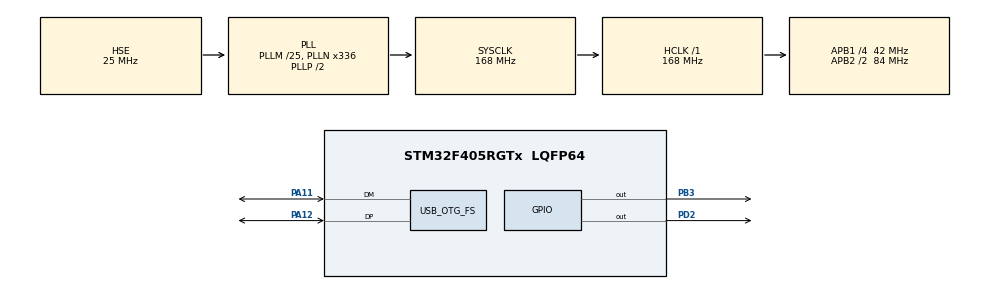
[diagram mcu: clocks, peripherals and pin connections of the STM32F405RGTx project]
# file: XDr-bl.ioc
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Mcu.Family=STM32F4
Mcu.Name=STM32F405RGTx
Mcu.Package=LQFP64
NVIC.OTG_FS_IRQn=true\:0\:0\:false\:false\:true\:false\:true\:true
NVIC.PriorityGroup=NVIC_PRIORITYGROUP_4
PA11.Mode=Device_Only
PA11.Signal=USB_OTG_FS_DM
PA12.Mode=Device_Only
PA12.Signal=USB_OTG_FS_DP
PA13.Mode=Serial_Wire
PA13.Signal=SYS_JTMS-SWDIO
PA14.Mode=Serial_Wire
PA14.Signal=SYS_JTCK-SWCLK
PB3.Signal=GPIO_Output
PD2.Signal=GPIO_Output
PH0-OSC_IN.Mode=HSE-External-Oscillator
PH0-OSC_IN.Signal=RCC_OSC_IN
PH1-OSC_OUT.Mode=HSE-External-Oscillator
PH1-OSC_OUT.Signal=RCC_OSC_OUT
ProjectManager.HeapSize=0x200
ProjectManager.StackSize=0x400
ProjectManager.TargetToolchain=MDK-ARM V5.32
RCC.48MHZClocksFreq_Value=48000000
RCC.AHBFreq_Value=168000000
RCC.APB1CLKDivider=RCC_HCLK_DIV4
RCC.APB1Freq_Value=42000000
RCC.APB1TimFreq_Value=84000000
RCC.APB2CLKDivider=RCC_HCLK_DIV2
RCC.APB2Freq_Value=84000000
RCC.APB2TimFreq_Value=168000000
RCC.CortexFreq_Value=168000000
RCC.HCLKFreq_Value=168000000
RCC.HSE_VALUE=25000000
RCC.HSI_VALUE=16000000
RCC.LSE_VALUE=32768
RCC.PLLM=25
RCC.PLLN=336
RCC.PLLQ=7
RCC.SYSCLKFreq_VALUE=168000000
RCC.SYSCLKSource=RCC_SYSCLKSOURCE_PLLCLK
RCC.VCOOutputFreq_Value=336000000
USB_DEVICE.CLASS_NAME_FS=CDC
USB_DEVICE.MANUFACTURER_STRING-CDC_FS=wxd
USB_DEVICE.PRODUCT_STRING_CDC_FS=XDr-bootloader
USB_DEVICE.VirtualMode-CDC_FS=Cdc
USB_DEVICE.VirtualModeFS=Cdc_FS
USB_OTG_FS.VirtualMode=Device_Only
VP_USB_DEVICE_VS_USB_DEVICE_CDC_FS.Mode=CDC_FS
board=custom

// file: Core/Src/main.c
/* USER CODE BEGIN Header */
/**
 ******************************************************************************
 * @file           : main.c
 * @brief          : Main program body
 ******************************************************************************
 * @attention
 *
 * Copyright (c) 2026 STMicroelectronics.
 * All rights reserved.
 *
 * This software is licensed under terms that can be found in the LICENSE file
 * in the root directory of this software component.
 * If no LICENSE file comes with this software, it is provided AS-IS.
 *
 ******************************************************************************
 */
/* USER CODE END Header */
#include "main.h"
#include "usb_device.h"
#include "gpio.h"

/* USER CODE BEGIN Includes */
#include "led.h"
#include "usbd_cdc_if.h"
/* USER CODE END Includes */

/* USER CODE BEGIN PV */
extern USBD_HandleTypeDef hUsbDeviceFS; /* 来自 usb_device.c */

volatile uint32_t g_firmware_total_size = 0; // 固件总大小
volatile uint8_t g_erase_sectors_start = 0;  // 起始扇区号
volatile uint8_t g_erase_sectors_count = 0;  // 擦除扇区数量

volatile uint32_t upgrade_addr;
volatile uint8_t g_fw_info_str[24] = {0};
volatile bool g_in_upgrade_mode = false;
/* USER CODE END PV */

void SystemClock_Config(void);

int main(void)
{

  /* MCU Configuration--------------------------------------------------------*/

  /* Reset of all peripherals, Initializes the Flash interface and the Systick. */
  HAL_Init();

  /* Configure the system clock */
  SystemClock_Config();

  /* Initialize all configured peripherals */
  MX_GPIO_Init();
  MX_USB_DEVICE_Init();
  /* USER CODE BEGIN 2 */
  LED_Init();
  LED_SetState(LED_IDLE);
  /* 检查升级标志，有则进入升级模式 */
  if (Check_Upgrade_Flag())
  {
    g_in_upgrade_mode = true;
    LED_SetState(LED_IDLE);
  }

  if (g_in_upgrade_mode)
  {
    /* 升级模式主循环 */
    while (1)
    {
      LED_Process(); /* 非阻塞更新 LED */

      if (g_cmd_received)
      {
        g_cmd_received = 0;

        /* 根据命令类型设置对应 LED 状态 */
        switch (g_upgrade_cmd)
        {
        case CMD_BL_CONNECT: /* 连接 BL */
        case CMD_IAP_ENTER:  /* 进入升级确认 */
          LED_SetState(LED_IDLE);
          break;

        case CMD_IAP_ERASE_FLASH:  /* 擦除 Flash */
        case CMD_IAP_WRITE_FLASH:  /* 写入 Flash */
        case CMD_IAP_VERIFY_FLASH: /* 校验 Flash */
          LED_SetState(LED_WRITING);
          break;

        case CMD_IAP_EXIT: /* 跳转 App */
          LED_SetState(LED_SUCCESS);
          break;

        default:
          LED_SetState(LED_ERROR);
          break;
        }
        /* === 开启临界区保护 === */
        __disable_irq(); // 1. 关中断

        /* 2. 一次性将 volatile 全局变量拷贝到局部变量 */
        uint8_t cmd = g_upgrade_cmd;
        uint16_t len = g_upgrade_len;
        uint8_t data_buf[256];

        if (len > 0 && len <= 256)
        {
          memcpy(data_buf, (void *)g_upgrade_data, len);
        }

        g_cmd_received = 0; // 3. 清除标志

        __enable_irq(); // 4. 开中断
                        /* === 临界区结束 === */
        uint8_t result = Process_Upgrade_Cmd(cmd, data_buf, len);

        /* 如果是跳转命令，显示结果后执行 */
        if (g_upgrade_cmd == CMD_IAP_EXIT)
        {
          if (result == FEEDBACK_OK)
          {
            LED_SetState(LED_SUCCESS);
            for (int i = 0; i < 200; i++)
            {
              HAL_Delay(10);
              LED_Process();
            }
            JumpToApp();
          }
          else
          {
            /* 跳转失败 - 全灭或同步快闪表示严重错误 */
            LED_SetState(LED_ERROR);
          }
        }
        else if (result == FEEDBACK_ERROR)
        {
          /* 其他命令失败 */
          LED_SetState(LED_ERROR);
        }
      }
			HAL_Delay(1);
    }
  }

  /* 无升级标志，直接跳转 App */
  JumpToApp();
  /* USER CODE END 2 */

  /* Infinite loop */
  while (1)
  {

  }
}

void SystemClock_Config(void)
{
  RCC_OscInitTypeDef RCC_OscInitStruct = {0};
  RCC_ClkInitTypeDef RCC_ClkInitStruct = {0};

  /** Configure the main internal regulator output voltage
   */
  __HAL_RCC_PWR_CLK_ENABLE();
  __HAL_PWR_VOLTAGESCALING_CONFIG(PWR_REGULATOR_VOLTAGE_SCALE1);

  /** Initializes the RCC Oscillators according to the specified parameters
   * in the RCC_OscInitTypeDef structure.
   */
  RCC_OscInitStruct.OscillatorType = RCC_OSCILLATORTYPE_HSE;
  RCC_OscInitStruct.HSEState = RCC_HSE_ON;
  RCC_OscInitStruct.PLL.PLLState = RCC_PLL_ON;
  RCC_OscInitStruct.PLL.PLLSource = RCC_PLLSOURCE_HSE;
  RCC_OscInitStruct.PLL.PLLM = 25;
  RCC_OscInitStruct.PLL.PLLN = 336;
  RCC_OscInitStruct.PLL.PLLP = RCC_PLLP_DIV2;
  RCC_OscInitStruct.PLL.PLLQ = 7;
  if (HAL_RCC_OscConfig(&RCC_OscInitStruct) != HAL_OK)
  {
    Error_Handler();
  }

  /** Initializes the CPU, AHB and APB buses clocks
   */
  RCC_ClkInitStruct.ClockType = RCC_CLOCKTYPE_HCLK | RCC_CLOCKTYPE_SYSCLK | RCC_CLOCKTYPE_PCLK1 | RCC_CLOCKTYPE_PCLK2;
  RCC_ClkInitStruct.SYSCLKSource = RCC_SYSCLKSOURCE_PLLCLK;
  RCC_ClkInitStruct.AHBCLKDivider = RCC_SYSCLK_DIV1;
  RCC_ClkInitStruct.APB1CLKDivider = RCC_HCLK_DIV4;
  RCC_ClkInitStruct.APB2CLKDivider = RCC_HCLK_DIV2;

  if (HAL_RCC_ClockConfig(&RCC_ClkInitStruct, FLASH_LATENCY_5) != HAL_OK)
  {
    Error_Handler();
  }
}

/* USER CODE BEGIN 4 */
/**
 * @brief  从 Flash 读取固件信息字符串
 */
static void FW_Info_ReadRaw(void)
{
  uint8_t i;
  memset((uint8_t *)g_fw_info_str, 0, sizeof(g_fw_info_str));

  for (i = 0; i < sizeof(g_fw_info_str) - 1; i++)
  {
    uint8_t byte = *(__IO uint8_t *)(FLAG_ADDRESS + i);
    if ((byte == 0x00) || (byte == 0xFF))
      break;
    g_fw_info_str[i] = (char)byte;
  }
}

/**
 * @brief  判断字符串是否有效
 * @retval 1: 有效，0: 无效
 */
static bool FW_Info_IsValid(void)
{
  return (g_fw_info_str[0] != '\0' && g_fw_info_str[0] != 0xFF);
}

/**
 * @brief  检查升级标志（读取字符串判断）
 * @retval 1: 需要升级，0: 正常运行
 */
bool Check_Upgrade_Flag(void)
{
  FW_Info_ReadRaw();
  return FW_Info_IsValid();
}

/**
 * @brief  清除升级标志（擦除扇区即可）
 */
bool Clear_Upgrade_Flag(void)
{
  HAL_FLASH_Unlock();

  FLASH_EraseInitTypeDef erase_init = {0};
  uint32_t sector_error;
  erase_init.TypeErase = FLASH_TYPEERASE_SECTORS;
  erase_init.VoltageRange = FLASH_VOLTAGE_RANGE_3;
  erase_init.Sector = CONFIG_SECTOR;
  erase_init.NbSectors = 1;

	bool result=HAL_FLASHEx_Erase(&erase_init, &sector_error) != HAL_OK;
  HAL_FLASH_Lock();
  memset((uint8_t *)g_fw_info_str, 0, sizeof(g_fw_info_str)); // 清空本地缓存
  return !result;
}

/**
 * @brief 根据 Flash 地址计算扇区号
 * @param addr: Flash 地址
 * @retval 扇区号 (0-11)，失败返回 0xFF
 */
uint8_t Flash_GetSectorFromAddr(uint32_t addr)
{
  // STM32F405 Flash 扇区映射表
  static const uint32_t sector_start_addr[] = {
      0x08000000, // Sector 0:  16KB
      0x08004000, // Sector 1:  16KB
      0x08008000, // Sector 2:  16KB
      0x0800C000, // Sector 3:  16KB
      0x08010000, // Sector 4:  64KB
      0x08020000, // Sector 5:  128KB
      0x08040000, // Sector 6:  128KB
      0x08060000, // Sector 7:  128KB
      0x08080000, // Sector 8:  128KB
      0x080A0000, // Sector 9:  128KB
      0x080C0000, // Sector 10: 128KB
      0x080E0000, // Sector 11: 128KB
  };

  for (uint8_t i = 0; i < 12; i++)
  {
    if (addr >= sector_start_addr[i])
    {
      if (i == 11)
        return 11; // 最后一个扇区
      if (addr < sector_start_addr[i + 1])
        return i;
    }
  }
  return 0xFF; // 无效地址
}
/**
 * @brief 根据起始地址和固件大小计算需要擦除的扇区
 * @param start_addr: 起始地址
 * @param total_size: 固件总大小
 * @retval 1: 成功，0: 失败
 */
bool Flash_CalcEraseSectors(uint32_t start_addr, uint32_t total_size)
{
  if (total_size == 0)
    return false; // 固件大小为 0，无效

  uint32_t end_addr = start_addr + total_size;

  // 获取起始扇区
  uint8_t start_sector = Flash_GetSectorFromAddr(start_addr);
  if (start_sector == 0xFF)
    return false;

  // 获取结束扇区 (end_addr-1 是因为地址是开区间)
  uint8_t end_sector = Flash_GetSectorFromAddr(end_addr - 1);
  if (end_sector == 0xFF)
    return false;

  // 安全检查 1: 不能擦除 Sector 0 (Bootloader 所在)
  if (start_sector == 0)
    return false;

  // 安全检查 2: 不能擦除 CONFIG_SECTOR (存升级标志)
  if (end_sector >= CONFIG_SECTOR)
  {
    end_sector = CONFIG_SECTOR - 1;
  }

  // 计算扇区数量
  g_erase_sectors_start = start_sector;
  g_erase_sectors_count = end_sector - start_sector + 1;

  return true;
}
/**
 * @brief 擦除 App 区 Flash (使用动态计算的扇区)
 * @retval 1: 成功，0: 失败
 */
bool Flash_Erase_App(void)
{
  // 检查是否已计算擦除范围
  if (g_erase_sectors_count == 0)
    return false;

  FLASH_EraseInitTypeDef erase_init;
  uint32_t sector_error;

  HAL_FLASH_Unlock();

  erase_init.TypeErase = FLASH_TYPEERASE_SECTORS;
  erase_init.VoltageRange = FLASH_VOLTAGE_RANGE_3;
  erase_init.Sector = g_erase_sectors_start;    // 动态起始扇区
  erase_init.NbSectors = g_erase_sectors_count; // 动态扇区数量

  bool result = HAL_FLASHEx_Erase(&erase_init, &sector_error) == HAL_OK;

  HAL_FLASH_Lock();
  return result;
}
/**
 * @brief 写入 Flash (支持非 4 字节对齐)
 * @param addr: 目标地址
 * @param data: 数据指针
 * @param len: 数据长度 (字节)
 * @retval 1: 成功，0: 失败
 */
bool Flash_Write(uint32_t addr, uint8_t *data, uint16_t len)
{
  HAL_StatusTypeDef status = HAL_OK;
  HAL_FLASH_Unlock();

  uint16_t i = 0;

  /* 1. 先按 4 字节 (Word) 写入，效率高 */
  for (; i + 3 < len && status == HAL_OK; i += 4)
  {
    uint32_t word = data[i] | (data[i + 1] << 8) | (data[i + 2] << 16) | (data[i + 3] << 24);
    status = HAL_FLASH_Program(FLASH_TYPEPROGRAM_WORD, addr, word);
    addr += 4;
  }

  /* 2. 处理剩余不足的 4 字节 (1~3 字节)，按字节 (Byte) 写入 */
  while (i < len && status == HAL_OK)
  {
    status = HAL_FLASH_Program(FLASH_TYPEPROGRAM_BYTE, addr, data[i]);
    addr++;
    i++;
  }

  HAL_FLASH_Lock();
  return status == HAL_OK;
}

/**
 * @brief 校验 Flash
 * @retval 1: 成功，0: 失败
 */
bool Flash_Verify(uint32_t addr, uint8_t *data, uint16_t len)
{
  for (uint16_t i = 0; i < len; i++)
  {
    if (*(uint8_t *)(addr + i) != data[i])
    {
      return false;
    }
  }
  return true;
}
/**
 * @brief 跳转到 App
 */
void JumpToApp(void)
{
  uint32_t app_stack = *(__IO uint32_t *)0x08004000;
  uint32_t app_reset = *(__IO uint32_t *)0x08004004;

  // 简单检查栈地址是否合理
  if ((app_stack & 0x2FFE0000) == 0x20000000)
  {
    __disable_irq();
    SysTick->CTRL = 0;
    SysTick->LOAD = 0;
    SysTick->VAL = 0;

    __set_MSP(app_stack);

    ((void (*)(void))app_reset)();
  }
  else
  {
    LED_SetState(LED_ERROR);
    // 跳转失败，死循环
    while (1)
    {
      LED_Process();
      HAL_Delay(1);
    }
  }
}
uint8_t firmware_info[36] = {0x3A, CMD_BL_CONNECT};
uint8_t response[6] = {0x3A, 0x00, 0x01, 0x00, 0x00, 0x0D}; // 0xf0和0xfe 校验位都为0
/**
 * @brief 处理升级命令
 * @retval 1: 成功，0: 失败
 */
uint8_t Process_Upgrade_Cmd(uint8_t cmd, uint8_t *data, uint16_t len)
{

  uint8_t result = FEEDBACK_OK;

  switch (cmd)
  {
  case CMD_BL_CONNECT: /* 连接 Bootloader */
    firmware_info[2] = strlen((char *)g_fw_info_str);
    memcpy(&firmware_info[3], (uint8_t *)g_fw_info_str, firmware_info[2]);
    uint16_t checksum = 0;
    for (int i = 0; i < firmware_info[2]; i++)
    {
      checksum += firmware_info[i];
    }
    firmware_info[3 + firmware_info[2]] = (uint8_t)checksum & 0xff;
    firmware_info[4 + firmware_info[2]] = 0x0D;
    /*  USB 发送状态检查与重试 */
    uint32_t start = HAL_GetTick();
    while ((CDC_Transmit_FS(firmware_info, 5 + firmware_info[2]) == USBD_BUSY) &&
           (HAL_GetTick() - start < 100)) // 100ms 超时
    {
      HAL_Delay(1);
    }
    return FEEDBACK_OK;
  case CMD_IAP_ENTER: /* 进入升级 (确认) */
    if (len >= 4)
    {
      // 解析 4 字节小端序固件大小
      g_firmware_total_size = data[0] | (data[1] << 8) | (data[2] << 16) | (data[3] << 24);

      // 计算需要擦除的扇区范围
      result = Flash_CalcEraseSectors(APP_START_ADDR, g_firmware_total_size) ? FEEDBACK_OK : FEEDBACK_ERROR;
    }
    else
    {
      result = FEEDBACK_ERROR; // 数据长度不足 4 字节
    }
    break;
  case CMD_IAP_ERASE_FLASH: /* 擦除 Flash */
    result = Flash_Erase_App() ? FEEDBACK_OK : FEEDBACK_ERROR;
    break;

  case CMD_IAP_WRITE_FLASH: /* 写入 Flash */

    upgrade_addr = (uint32_t)data[0] | ((uint32_t)data[1] << 8) |
                   ((uint32_t)data[2] << 16) | ((uint32_t)data[3] << 24);
    if (upgrade_addr < 0x08004000 || upgrade_addr >= 0x080FFFFF)
    {
      result = FEEDBACK_ERROR; // 非法地址，直接丢弃
      break;
    }
    g_upgrade_len = len - 4; /* 减去地址(4B) */

    /* [修改点 7] 地址对齐检查 */
    if (upgrade_addr % 4 != 0)
    {
      result = FEEDBACK_ERROR; /* 地址必须 4 字节对齐 */
    }
    else
    {
      result = Flash_Write(upgrade_addr, &data[4], g_upgrade_len) ? FEEDBACK_OK : FEEDBACK_ERROR;
    }
    break;

  case CMD_IAP_VERIFY_FLASH: /* 校验 Flash */
    upgrade_addr = (uint32_t)data[0] | ((uint32_t)data[1] << 8) |
                   ((uint32_t)data[2] << 16) | ((uint32_t)data[3] << 24);
    g_upgrade_len = len - 4; /* 减去地址(4B) */
    result = Flash_Verify(upgrade_addr, &data[4], g_upgrade_len) ? FEEDBACK_OK : FEEDBACK_ERROR;
    break;

  case CMD_IAP_EXIT:                                              /* 跳转 App */
    result = Clear_Upgrade_Flag() ? FEEDBACK_OK : FEEDBACK_ERROR; /* 清除标志 */
    break;

  default:
    result = FEEDBACK_ERROR;
    break;
  }

  response[1] = cmd;
  response[3] = result;
	response[4]	=	result;

  /*  USB 发送状态检查与重试 */
  uint32_t start = HAL_GetTick();
  while ((CDC_Transmit_FS(response, 6) == USBD_BUSY) &&
         (HAL_GetTick() - start < 100)) // 100ms 超时
  {
    HAL_Delay(1);
  }

  return result;
}
/* USER CODE END 4 */

void Error_Handler(void)
{
  __disable_irq();
  while (1)
  {
  }
}
